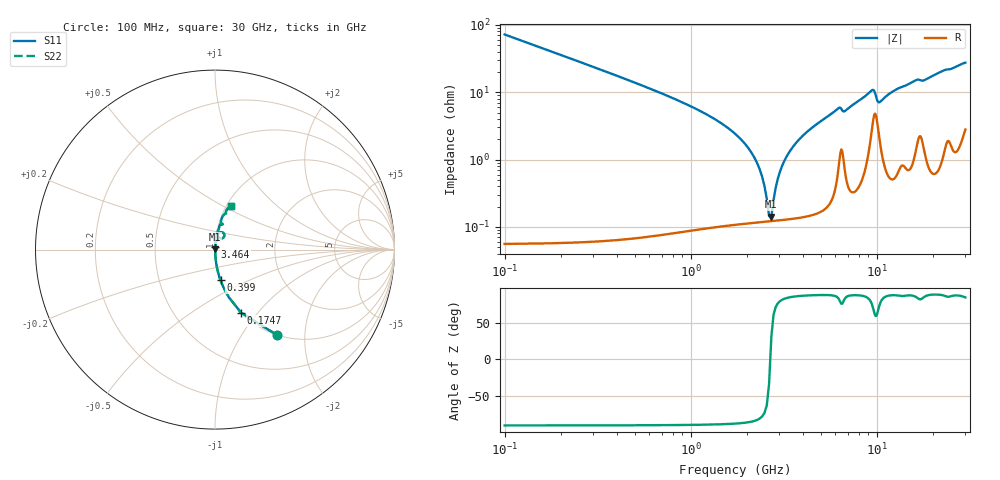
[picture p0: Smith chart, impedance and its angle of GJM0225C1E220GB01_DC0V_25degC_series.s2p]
!Murata Part Number: GJM0225C1E220GB01
!These Parameters are Measured in Series Mode Connection
!  o--ll--o
!Port1  Port2
!  o------o
!Operation Temp=25[degC], DC Bias Voltage=0[V]
!Freq. Start=100[MHz] Stop=30[GHz], 401[Steps]
!Data Generated on Feb 1, 2023
# Hz S RI R 50
!Freq.(Hz) S11(Real) S11(Imag) S21(Real) S21(Imag) S12(Real) S12(Imag) S22(Real) S22(Imag)
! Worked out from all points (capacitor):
!   401 points, 100 MHz to 30 GHz, reference 50 ohm
!   read as one part in series: C = 22 pF near 249.5 MHz
!   lowest |Z| = 141 mohm at 2.716 GHz (marker M1)
!   series resonance near 2.681 GHz, so ESL is about 160 pH
!   S11 on the Smith chart (normalised r, x): 100 MHz: 1.00, -1.44; 174.8 MHz: 1.00, -0.82; 399 MHz: 1.00, -0.35; 3.464 GHz: 1.00, +0.03; 30 GHz: 1.06, +0.55
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1e8  0.343 -0.4743  0.657 0.4743  0.657 0.4743  0.343 -0.4743
1.7475e8  0.1455 -0.352  0.8545 0.352  0.8545 0.352  0.1455 -0.352
3.99e8  0.031 -0.1715  0.969 0.1715  0.969 0.1715  0.031 -0.1715
7.7275e8  0.00805 -0.0849  0.9919 0.0849  0.9919 0.0849  0.00805 -0.0849
2.0435e9  0.00134 -0.0147  0.9987 0.0147  0.9987 0.0147  0.00134 -0.0147
2.3425e9  0.00122 -0.00726  0.9988 0.00726  0.9988 0.00726  0.00122 -0.00726
2.56675e9  0.0012 -0.00233  0.9988 0.00233  0.9988 0.00233  0.0012 -0.00233
2.71625e9  0.00122 0.000716  0.9988 -0.000716  0.9988 -0.000716  0.00122 0.000716
2.791e9  0.00123 0.00218  0.9988 -0.00218  0.9988 -0.00218  0.00123 0.00218
3.09e9  0.00132 0.0077  0.9987 -0.0077  0.9987 -0.0077  0.00132 0.0077
3.46375e9  0.00151 0.014  0.9985 -0.014  0.9985 -0.014  0.00151 0.014
4.1365e9  0.00201 0.0244  0.998 -0.0244  0.998 -0.0244  0.00201 0.0244
5.10825e9  0.0032 0.0384  0.9968 -0.0384  0.9968 -0.0384  0.0032 0.0384
6.2295e9  0.0104 0.0566  0.9896 -0.0566  0.9896 -0.0566  0.0104 0.0566
6.75275e9  0.00937 0.0515  0.9906 -0.0515  0.9906 -0.0515  0.00937 0.0515
9.369e9  0.0337 0.0975  0.9663 -0.0975  0.9663 -0.0975  0.0337 0.0975
9.668e9  0.0504 0.0879  0.9496 -0.0879  0.9496 -0.0879  0.0504 0.0879
1.01165e10  0.0357 0.062  0.9643 -0.062  0.9643 -0.062  0.0357 0.062
1.505e10  0.0246 0.1307  0.9754 -0.1307  0.9754 -0.1307  0.0246 0.1307
2.005825e10  0.0356 0.1687  0.9644 -0.1687  0.9644 -0.1687  0.0356 0.1687
2.50665e10  0.0606 0.2047  0.9394 -0.2047  0.9394 -0.2047  0.0606 0.2047
3e10  0.0918 0.2422  0.9082 -0.2422  0.9082 -0.2422  0.0918 0.2422
